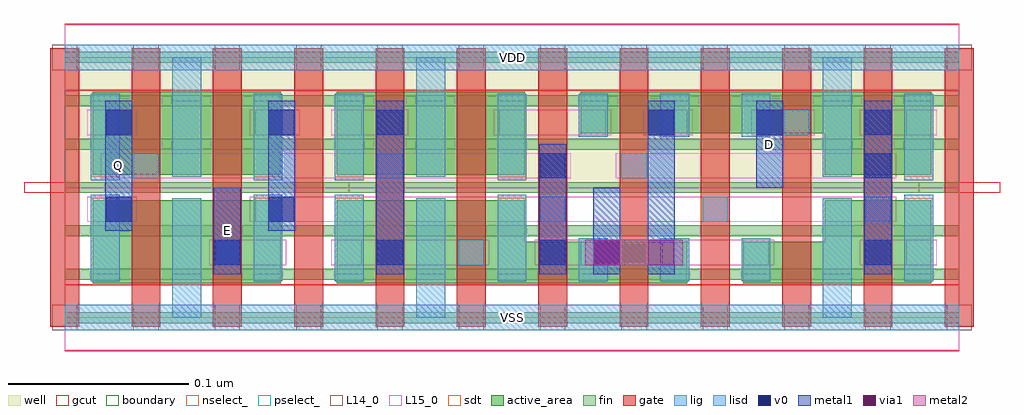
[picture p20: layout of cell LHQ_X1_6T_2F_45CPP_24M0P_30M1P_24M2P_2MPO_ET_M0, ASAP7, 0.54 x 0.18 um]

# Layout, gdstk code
import gdstk
lib = gdstk.Library(unit=1e-6, precision=2.5e-10)
def R(c, l, rs):  # rectangles x0, y0, x1, y1
    for r in rs: c.add(gdstk.rectangle(r[:2], r[2:], *l))
def A(c, l, x, y, w, h, nx, ny, dx, dy):  # array of equal rectangles
    R(c, l, [(x+i*dx, y+j*dy, x+i*dx+w, y+j*dy+h) for i in range(nx) for j in range(ny)])
well = (1, 0)
fin = (2, 0)
gate = (7, 0)
gcut = (10, 0)
active_area = (11, 0)
nselect_ = (12, 0)
pselect_ = (13, 0)
L14_0 = (14, 0)
L15_0 = (15, 0)
lig = (16, 0)
lisd = (17, 0)
v0 = (18, 0)
metal1 = (19, 0)
metal2 = (20, 0)
via1 = (21, 0)
sdt = (88, 0)
boundary = (100, 0)

lhq_x1_6t_2f_45cpp_24m0p = lib.new_cell('LHQ_X1_6T_2F_45CPP_24M0P_30M1P_24M2P_2MPO_ET_M0')
R(lhq_x1_6t_2f_45cpp_24m0p, well, [(0,0.072,0.495,0.144)])
A(lhq_x1_6t_2f_45cpp_24m0p, fin, 0, -0.003, 0.495, 0.006, 1, 7, 0, 0.024)
A(lhq_x1_6t_2f_45cpp_24m0p, gate, -0.008, -0.005, 0.016, 0.154, 12, 1, 0.045, 0)
R(lhq_x1_6t_2f_45cpp_24m0p, gcut, [(0,-0.0185,0.495,0.0185), (-0.0225,0.069,0.0225,0.075), (0.1125,0.069,0.1575,0.075), (0.4725,0.069,0.5175,0.075), (0,0.1255,0.495,0.1625)])
A(lhq_x1_6t_2f_45cpp_24m0p, active_area, 0.2855, 0.102, 0.059, 0.023, 3, 1, 0.045, 0)
R(lhq_x1_6t_2f_45cpp_24m0p, active_area, [(0.0155,0.019,0.0745,0.065), (0.0605,0.019,0.1195,0.065), (0.1505,0.019,0.2095,0.065), (0.1955,0.019,0.2545,0.065), (0.2405,0.019,0.2995,0.042), (0.2855,0.019,0.3445,0.042), (0.3755,0.019,0.4345,0.042), (0.4205,0.019,0.4795,0.065), (0.0155,0.079,0.0745,0.125), (0.0605,0.079,0.1195,0.125), (0.1505,0.079,0.2095,0.125), (0.1955,0.079,0.2545,0.125), (0.4205,0.079,0.4795,0.125)])
R(lhq_x1_6t_2f_45cpp_24m0p, nselect_, [(0,0,0.495,0.072)])
R(lhq_x1_6t_2f_45cpp_24m0p, pselect_, [(0,0.072,0.495,0.144)])
A(lhq_x1_6t_2f_45cpp_24m0p, L14_0, -0.007, -0.007, 0.014, 0.014, 12, 2, 0.045, 0.144)
A(lhq_x1_6t_2f_45cpp_24m0p, L14_0, 0.083, 0.029, 0.014, 0.014, 4, 1, 0.0675, 0)
A(lhq_x1_6t_2f_45cpp_24m0p, L14_0, 0.263, 0.053, 0.014, 0.014, 3, 1, 0.09, 0)
A(lhq_x1_6t_2f_45cpp_24m0p, L14_0, 0.038, 0.077, 0.014, 0.014, 3, 1, 0.135, 0)
A(lhq_x1_6t_2f_45cpp_24m0p, L14_0, 0.2405, 0.101, 0.014, 0.014, 3, 1, 0.045, 0)
R(lhq_x1_6t_2f_45cpp_24m0p, L14_0, [(0.3305,0.029,0.3445,0.043), (0.3755,0.029,0.3895,0.043), (0.4655,0.029,0.4795,0.043), (0.0155,0.053,0.0295,0.067), (0.1055,0.053,0.1195,0.067), (0.0155,0.101,0.0295,0.115), (0.1055,0.101,0.1195,0.115), (0.1505,0.101,0.1645,0.115), (0.398,0.101,0.412,0.115), (0.4655,0.101,0.4795,0.115)])
R(lhq_x1_6t_2f_45cpp_24m0p, L15_0, [(0,-0.018,0.495,0.018), (0.08,0.029,0.1225,0.043), (0.1475,0.029,0.235,0.043), (0.26,0.029,0.31,0.043), (0.3275,0.029,0.3925,0.043), (0.44,0.029,0.4825,0.043), (0.0125,0.053,0.04,0.067), (0.1025,0.053,0.46,0.067), (0.02,0.077,0.28,0.091), (0.305,0.077,0.46,0.091), (0.0125,0.101,0.04,0.115), (0.1025,0.101,0.13,0.115), (0.1475,0.101,0.19,0.115), (0.2375,0.101,0.3025,0.115), (0.32,0.101,0.3475,0.115), (0.38,0.101,0.415,0.115), (0.44,0.101,0.4825,0.115), (0,0.126,0.495,0.162)])
A(lhq_x1_6t_2f_45cpp_24m0p, lig, 0.263, 0.053, 0.014, 0.014, 3, 1, 0.09, 0)
A(lhq_x1_6t_2f_45cpp_24m0p, lig, 0.038, 0.077, 0.014, 0.014, 3, 1, 0.135, 0)
R(lhq_x1_6t_2f_45cpp_24m0p, lig, [(0,-0.007,0.495,0.007), (0.083,0.029,0.097,0.043), (0.218,0.029,0.232,0.043), (0.398,0.101,0.412,0.115), (0,0.137,0.495,0.151)])
A(lhq_x1_6t_2f_45cpp_24m0p, lisd, 0.2845, 0.02, 0.016, 0.024, 3, 2, 0.045, 0.08)
R(lhq_x1_6t_2f_45cpp_24m0p, lisd, [(0.0595,0,0.0755,0.066), (0.1945,0,0.2105,0.066), (0.4195,0,0.4355,0.066), (0.0145,0.02,0.0305,0.068), (0.1045,0.02,0.1205,0.068), (0.1495,0.02,0.1655,0.068), (0.2395,0.02,0.2555,0.068), (0.4645,0.02,0.4805,0.068), (0.0145,0.076,0.0305,0.124), (0.1045,0.076,0.1205,0.124), (0.1495,0.076,0.1655,0.124), (0.2395,0.076,0.2555,0.124), (0.4645,0.076,0.4805,0.124), (0.0595,0.078,0.0755,0.144), (0.1945,0.078,0.2105,0.144), (0.4195,0.078,0.4355,0.144)])
A(lhq_x1_6t_2f_45cpp_24m0p, v0, 0.083, 0.029, 0.014, 0.014, 3, 1, 0.09, 0)
A(lhq_x1_6t_2f_45cpp_24m0p, v0, 0.323, 0.101, 0.014, 0.014, 3, 1, 0.06, 0)
R(lhq_x1_6t_2f_45cpp_24m0p, v0, [(0.293,0.029,0.307,0.043), (0.443,0.029,0.457,0.043), (0.023,0.053,0.037,0.067), (0.113,0.053,0.127,0.067), (0.263,0.077,0.277,0.091), (0.443,0.077,0.457,0.091), (0.023,0.101,0.037,0.115), (0.113,0.101,0.127,0.115), (0.173,0.101,0.187,0.115)])
R(lhq_x1_6t_2f_45cpp_24m0p, metal1, [(0.0825,0.024,0.0975,0.072), (0.1725,0.024,0.1875,0.12), (0.2625,0.024,0.2775,0.096), (0.2925,0.024,0.3075,0.072), (0.3225,0.024,0.3375,0.12), (0.4425,0.024,0.4575,0.12), (0.0225,0.048,0.0375,0.12), (0.1125,0.048,0.1275,0.12), (0.3825,0.072,0.3975,0.12)])
R(lhq_x1_6t_2f_45cpp_24m0p, metal2, [(0.288,0.029,0.342,0.043)])
R(lhq_x1_6t_2f_45cpp_24m0p, via1, [(0.293,0.029,0.307,0.043), (0.323,0.029,0.337,0.043)])
A(lhq_x1_6t_2f_45cpp_24m0p, sdt, 0.0145, 0.024, 0.016, 0.042, 6, 2, 0.045, 0.054)
A(lhq_x1_6t_2f_45cpp_24m0p, sdt, 0.2845, 0.024, 0.016, 0.018, 3, 2, 0.045, 0.078)
R(lhq_x1_6t_2f_45cpp_24m0p, sdt, [(0.4195,0.024,0.4355,0.066), (0.4645,0.024,0.4805,0.066), (0.4195,0.078,0.4355,0.12), (0.4645,0.078,0.4805,0.12)])
R(lhq_x1_6t_2f_45cpp_24m0p, boundary, [(0,0,0.495,0.144)])
lhq_x1_6t_2f_45cpp_24m0p.add(gdstk.Label('Q', (0.03,0.084), layer=19, texttype=251))
lhq_x1_6t_2f_45cpp_24m0p.add(gdstk.Label('D', (0.39,0.096), layer=19, texttype=251))
lhq_x1_6t_2f_45cpp_24m0p.add(gdstk.Label('E', (0.09,0.048), layer=19, texttype=251))
lhq_x1_6t_2f_45cpp_24m0p.add(gdstk.Label('VDD', (0.2475,0.144), layer=15, texttype=251))
lhq_x1_6t_2f_45cpp_24m0p.add(gdstk.Label('VSS', (0.2475,0), layer=15, texttype=251))
lhq_x1_6t_2f_45cpp_24m0p.add(gdstk.Label('VDD', (0.2475,0.144), layer=1, texttype=251))
lhq_x1_6t_2f_45cpp_24m0p.add(gdstk.Label('VSS', (0.2475,0), layer=3, texttype=251))

lib.write_gds('LHQ_X1_6T_2F_45CPP_24M0P_30M1P_24M2P_2MPO_ET_M0.gds')
